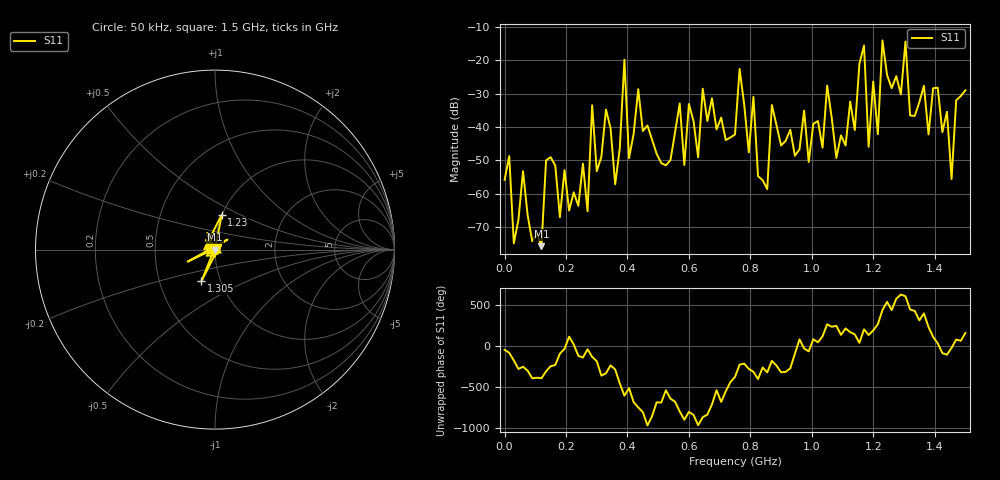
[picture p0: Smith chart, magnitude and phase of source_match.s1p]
! Created with skrf 1.8.0 (http://scikit-rf.org).
# Hz S RI R 50.0
!freq ReS11 ImS11
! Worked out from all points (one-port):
!   101 points, 50 kHz to 1.5 GHz, reference 50 ohm
!   lowest |S11| = -75.7 dB at 120 MHz (marker M1), VSWR 1.00, Z = 50 - j0.00876 ohm
!   |S11| at or under -10 dB: start of sweep to end of sweep
!   S11 on the Smith chart (normalised r, x): 50 kHz: 1.00, -0.00; 1.23 GHz: 1.00, +0.40; 1.305 GHz: 0.81, -0.30; 1.5 GHz: 0.94, +0.02
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50000  0.00112 -0.00117
1.20046e8  0.000138 -8.76e-05
1.350455e8  0.00195 0.0025
1.950435e8  0.00186 -0.00128
3.750375e8  -0.000497 -0.00482
3.90037e8  -0.0439 0.0923
4.050365e8  -0.00302 -0.00157
4.350355e8  0.0324 -0.0173
5.250325e8  -0.00266 -4.52e-05
5.70031e8  0.00525 -0.0219
5.850305e8  -0.0027 -0.000102
7.50025e8  0.00742 -0.00217
7.650245e8  -0.0512 0.0534
8.250225e8  0.00137 -0.00121
8.550215e8  0.000909 0.000742
8.70021e8  -0.0214 5.29e-05
9.450185e8  -0.000254 -0.00369
1.125012e9  -0.0237 0.00448
1.170011e9  -0.1521 -0.0667
1.18501e9  -0.00357 0.00359
1.20001e9  -0.0473 -0.00893
1.21501e9  -0.000653 -0.00779
1.230009e9  0.0375 0.1948
1.305006e9  -0.0753 -0.1757
1.320006e9  0.00124 0.0149
1.410003e9  0.0326 0.0212
1.455002e9  0.00154 -0.000633
1.5e9  -0.0333 0.0123
